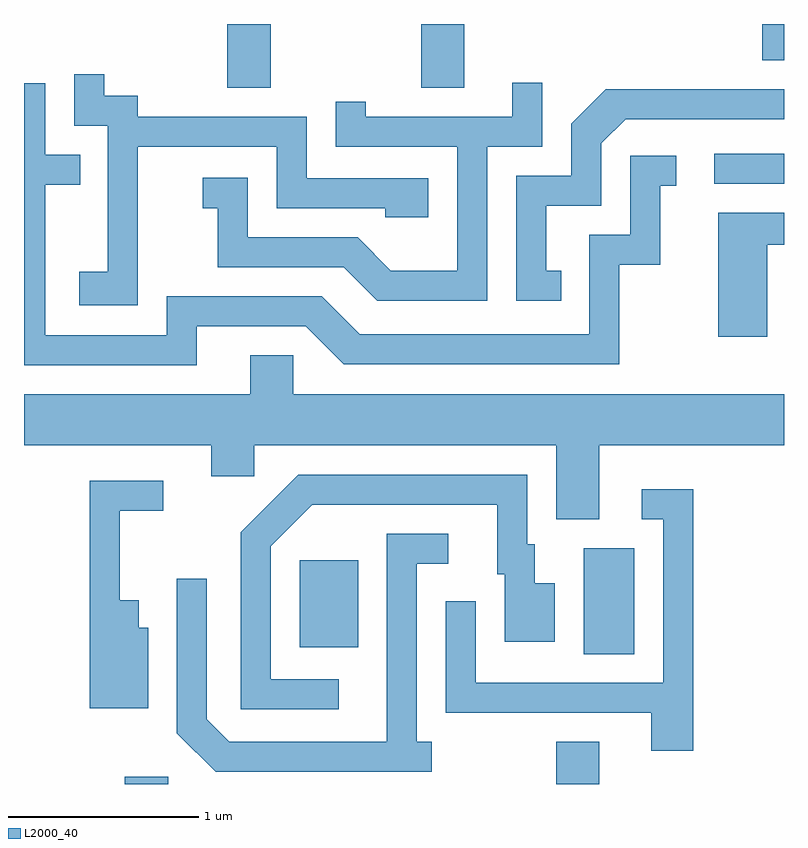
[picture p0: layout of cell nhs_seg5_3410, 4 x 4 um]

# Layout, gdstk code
import gdstk
lib = gdstk.Library(unit=1e-6, precision=1e-09)
def R(c, l, rs):  # rectangles x0, y0, x1, y1
    for r in rs: c.add(gdstk.rectangle(r[:2], r[2:], *l))
def P(c, l, *ps):  # polygons
    for p in ps: c.add(gdstk.Polygon(p, *l))
L2000_40 = (2000, 40)

nhs_seg5_3410 = lib.new_cell('nhs_seg5_3410')
R(nhs_seg5_3410, L2000_40, [(286.141,1506.072,286.369,1506.109), (288.411,1506.072,288.639,1506.294), (288.556,1506.756,288.824,1507.314), (287.061,1506.791,287.369,1507.249), (289.243,1509.231,289.611,1509.389), (286.681,1509.736,286.909,1510.072), (287.701,1509.736,287.929,1510.072), (289.496,1509.881,289.611,1510.072)])
P(nhs_seg5_3410, L2000_40, [(286.209,1509.426),(286.941,1509.426),(286.941,1509.101),(287.511,1509.101),(287.511,1509.056),(287.739,1509.056),(287.739,1509.259),(287.099,1509.259),(287.099,1509.584),(286.209,1509.584),(286.209,1509.694),(286.034,1509.694),(286.034,1509.808),(285.876,1509.808),(285.876,1509.536),(286.051,1509.536),(286.051,1508.769),(285.901,1508.769),(285.901,1508.591),(286.209,1508.591)],
  [(288.049,1509.426),(288.339,1509.426),(288.339,1509.763),(288.181,1509.763),(288.181,1509.584),(287.409,1509.584),(287.409,1509.663),(287.251,1509.663),(287.251,1509.426),(287.891,1509.426),(287.891,1508.774),(287.542,1508.774),(287.367,1508.949),(286.789,1508.949),(286.789,1509.264),(286.553,1509.264),(286.553,1509.101),(286.631,1509.101),(286.631,1508.791),(287.294,1508.791),(287.469,1508.616),(288.049,1508.616)],
  [(286.519,1508.481),(287.094,1508.481),(287.294,1508.281),(288.744,1508.281),(288.744,1508.806),(288.959,1508.806),(288.959,1509.221),(289.043,1509.221),(289.043,1509.379),(288.801,1509.379),(288.801,1508.964),(288.586,1508.964),(288.586,1508.439),(287.377,1508.439),(287.177,1508.639),(286.361,1508.639),(286.361,1508.434),(285.724,1508.434),(285.724,1509.226),(285.908,1509.226),(285.908,1509.384),(285.724,1509.384),(285.724,1509.759),(285.611,1509.759),(285.611,1508.276),(286.519,1508.276)],
  [(288.438,1508.774),(288.359,1508.774),(288.359,1509.116),(288.649,1509.116),(288.649,1509.444),(288.777,1509.571),(289.611,1509.571),(289.611,1509.729),(288.674,1509.729),(288.491,1509.547),(288.491,1509.274),(288.201,1509.274),(288.201,1508.616),(288.438,1508.616)],
  [(289.524,1508.911),(289.611,1508.911),(289.611,1509.079),(289.266,1509.079),(289.266,1508.426),(289.524,1508.426)],
  [(288.639,1507.856),(289.611,1507.856),(289.611,1508.124),(287.029,1508.124),(287.029,1508.329),(286.801,1508.329),(286.801,1508.124),(285.611,1508.124),(285.611,1507.856),(286.596,1507.856),(286.596,1507.691),(286.824,1507.691),(286.824,1507.856),(288.411,1507.856),(288.411,1507.466),(288.639,1507.466)],
  [(287.268,1506.624),(286.909,1506.624),(286.909,1507.324),(287.127,1507.541),(288.101,1507.541),(288.101,1507.176),(288.141,1507.176),(288.141,1506.821),(288.404,1506.821),(288.404,1507.129),(288.299,1507.129),(288.299,1507.334),(288.259,1507.334),(288.259,1507.699),(287.054,1507.699),(286.751,1507.397),(286.751,1506.466),(287.268,1506.466)],
  [(286.264,1506.894),(286.214,1506.894),(286.214,1507.039),(286.114,1507.039),(286.114,1507.511),(286.343,1507.511),(286.343,1507.669),(285.956,1507.669),(285.956,1506.471),(286.264,1506.471)],
  [(289.134,1507.624),(288.863,1507.624),(288.863,1507.466),(288.976,1507.466),(288.976,1506.604),(287.989,1506.604),(287.989,1507.033),(287.831,1507.033),(287.831,1506.446),(288.911,1506.446),(288.911,1506.246),(289.134,1506.246)],
  [(287.758,1506.294),(287.679,1506.294),(287.679,1507.231),(287.843,1507.231),(287.843,1507.389),(287.521,1507.389),(287.521,1506.294),(286.692,1506.294),(286.574,1506.412),(286.574,1507.153),(286.416,1507.153),(286.416,1506.339),(286.619,1506.136),(287.758,1506.136)])

lib.write_gds('nhs_seg5_3410.gds')
